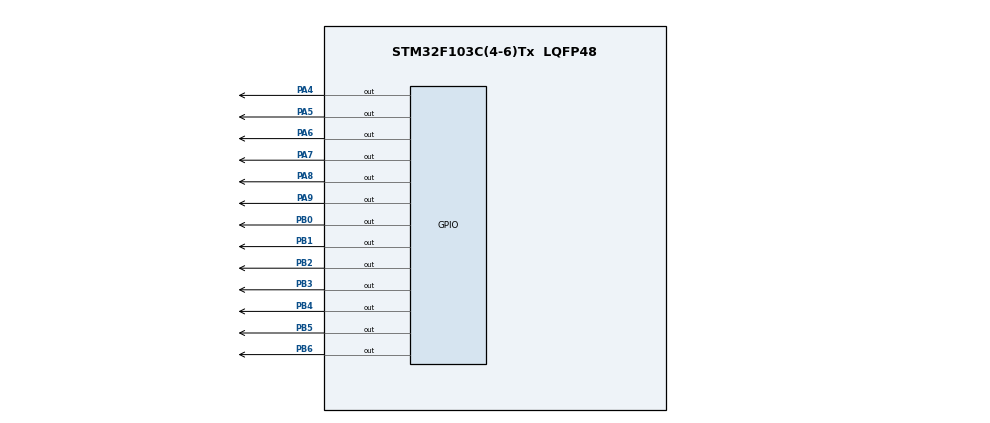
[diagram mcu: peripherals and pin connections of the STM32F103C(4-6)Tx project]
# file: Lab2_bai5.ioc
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Mcu.Family=STM32F1
Mcu.Name=STM32F103C(4-6)Tx
Mcu.Package=LQFP48
NVIC.PriorityGroup=NVIC_PRIORITYGROUP_4
NVIC.TIM2_IRQn=true\:0\:0\:false\:false\:true\:true\:true
PA13.Mode=Serial_Wire
PA13.Signal=SYS_JTMS-SWDIO
PA14.Mode=Serial_Wire
PA14.Signal=SYS_JTCK-SWCLK
PA4.Signal=GPIO_Output
PA5.Signal=GPIO_Output
PA6.Signal=GPIO_Output
PA7.Signal=GPIO_Output
PA8.Signal=GPIO_Output
PA9.Signal=GPIO_Output
PB0.Signal=GPIO_Output
PB1.Signal=GPIO_Output
PB2.Signal=GPIO_Output
PB3.Signal=GPIO_Output
PB4.Signal=GPIO_Output
PB5.Signal=GPIO_Output
PB6.Signal=GPIO_Output
PD0-OSC_IN.Mode=HSE-External-Oscillator
PD0-OSC_IN.Signal=RCC_OSC_IN
PD1-OSC_OUT.Mode=HSE-External-Oscillator
PD1-OSC_OUT.Signal=RCC_OSC_OUT
ProjectManager.HeapSize=0x200
ProjectManager.StackSize=0x400
ProjectManager.TargetToolchain=STM32CubeIDE
RCC.APB1Freq_Value=8000000
RCC.APB2Freq_Value=8000000
TIM2.Period=9
TIM2.Prescaler=7999
VP_TIM2_VS_ClockSourceINT.Mode=Internal
board=custom

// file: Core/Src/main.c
/* USER CODE BEGIN Header */
/**
  ******************************************************************************
  * @file           : main.c
  * @brief          : Main program body
  ******************************************************************************
  * @attention
  *
  * <h2><center>&copy; Copyright (c) 2021 STMicroelectronics.
  * All rights reserved.</center></h2>
  *
  * This software component is licensed by ST under BSD 3-Clause license,
  * the "License"; You may not use this file except in compliance with the
  * License. You may obtain a copy of the License at:
  *                        opensource.org/licenses/BSD-3-Clause
  *
  ******************************************************************************
  */
/* USER CODE END Header */
#include "main.h"

TIM_HandleTypeDef htim2;

void SystemClock_Config(void);
static void MX_GPIO_Init(void);
static void MX_TIM2_Init(void);

/* USER CODE BEGIN 0 */
void display7SEG(int num)
{
	HAL_GPIO_WritePin(GPIOB, GPIO_PIN_0|GPIO_PIN_1|GPIO_PIN_2|GPIO_PIN_3|GPIO_PIN_4|GPIO_PIN_5|GPIO_PIN_6, GPIO_PIN_SET);
	switch (num)
	{
	case 0: HAL_GPIO_WritePin(GPIOB, GPIO_PIN_0|GPIO_PIN_1|GPIO_PIN_2|GPIO_PIN_3|GPIO_PIN_4|GPIO_PIN_5, GPIO_PIN_RESET);
			break;
	case 1: HAL_GPIO_WritePin(GPIOB, GPIO_PIN_1|GPIO_PIN_2, GPIO_PIN_RESET);
			break;
	case 2: HAL_GPIO_WritePin(GPIOB, GPIO_PIN_0|GPIO_PIN_1|GPIO_PIN_3|GPIO_PIN_4|GPIO_PIN_6, GPIO_PIN_RESET);
			break;
	case 3: HAL_GPIO_WritePin(GPIOB, GPIO_PIN_0|GPIO_PIN_1|GPIO_PIN_2|GPIO_PIN_3|GPIO_PIN_6, GPIO_PIN_RESET);
			break;
	case 4: HAL_GPIO_WritePin(GPIOB, GPIO_PIN_1|GPIO_PIN_2|GPIO_PIN_5|GPIO_PIN_6, GPIO_PIN_RESET);
			break;
	case 5: HAL_GPIO_WritePin(GPIOB, GPIO_PIN_0|GPIO_PIN_2|GPIO_PIN_3|GPIO_PIN_5|GPIO_PIN_6, GPIO_PIN_RESET);
			break;
	case 6: HAL_GPIO_WritePin(GPIOB, GPIO_PIN_0|GPIO_PIN_2|GPIO_PIN_3|GPIO_PIN_4|GPIO_PIN_5|GPIO_PIN_6, GPIO_PIN_RESET);
			break;
	case 7: HAL_GPIO_WritePin(GPIOB, GPIO_PIN_0|GPIO_PIN_1|GPIO_PIN_2, GPIO_PIN_RESET);
			break;
	case 8: HAL_GPIO_WritePin(GPIOB, GPIO_PIN_0|GPIO_PIN_1|GPIO_PIN_2|GPIO_PIN_3|GPIO_PIN_4|GPIO_PIN_5|GPIO_PIN_6, GPIO_PIN_RESET);
			break;
	case 9: HAL_GPIO_WritePin(GPIOB, GPIO_PIN_0|GPIO_PIN_1|GPIO_PIN_2|GPIO_PIN_3|GPIO_PIN_5|GPIO_PIN_6, GPIO_PIN_RESET);
			break;
	default: HAL_GPIO_WritePin(GPIOB, GPIO_PIN_2|GPIO_PIN_3|GPIO_PIN_4|GPIO_PIN_5|GPIO_PIN_6, GPIO_PIN_RESET);
			break;
	}
}

int hour = 15, minute = 8, second = 50;
const int MAX_LED = 4;
int index_led = 0;
int led_buffer [4] = {1, 2, 3, 4};
void update7SEG (int index){
	switch(index){
	case 0:
		// Display the first 7 SEG with led_buffer [0]
		display7SEG(led_buffer[0]);
		HAL_GPIO_WritePin(GPIOA, GPIO_PIN_6, GPIO_PIN_RESET);
		HAL_GPIO_WritePin(GPIOA, GPIO_PIN_7 | GPIO_PIN_8 | GPIO_PIN_9, GPIO_PIN_SET);
		break;
	case 1:
		// Display the second 7 SEG with led_buffer [1]
		display7SEG(led_buffer[1]);
		HAL_GPIO_WritePin(GPIOA, GPIO_PIN_7, GPIO_PIN_RESET);
		HAL_GPIO_WritePin(GPIOA, GPIO_PIN_6 | GPIO_PIN_8 | GPIO_PIN_9, GPIO_PIN_SET);
		break;
	case 2:
		// Display the third 7 SEG with led_buffer [2]
		display7SEG(led_buffer[2]);
		HAL_GPIO_WritePin(GPIOA, GPIO_PIN_8, GPIO_PIN_RESET);
		HAL_GPIO_WritePin(GPIOA, GPIO_PIN_6 | GPIO_PIN_7 | GPIO_PIN_9, GPIO_PIN_SET);
		break;
	case 3:
		// Display the forth 7 SEG with led_buffer [3]
		display7SEG(led_buffer[3]);
		HAL_GPIO_WritePin(GPIOA, GPIO_PIN_9, GPIO_PIN_RESET);
		HAL_GPIO_WritePin(GPIOA, GPIO_PIN_6 | GPIO_PIN_7 | GPIO_PIN_8, GPIO_PIN_SET);
		break;
	default:
		break;
	}
}
void updateClockBuffer(){
	led_buffer[0] = hour / 10;
	led_buffer[1] = hour % 10;
	led_buffer[2] = minute / 10;
	led_buffer[3] = minute % 10;
}
/* USER CODE END 0 */

int main(void)
{

  /* MCU Configuration--------------------------------------------------------*/

  /* Reset of all peripherals, Initializes the Flash interface and the Systick. */
  HAL_Init();

  /* Configure the system clock */
  SystemClock_Config();

  /* Initialize all configured peripherals */
  MX_GPIO_Init();
  MX_TIM2_Init();
  /* USER CODE BEGIN 2 */
  HAL_TIM_Base_Start_IT(&htim2);
  /* USER CODE END 2 */

  /* Infinite loop */
  while (1)
  {
	  second ++;
	  if ( second >= 60)
	  {
		  second = 0;
		  minute ++;
	  }

	  if( minute >= 60)
	  {
		  minute = 0;
		  hour ++;
	  }
	  if( hour >=24) hour = 0;

	  updateClockBuffer();
	  HAL_Delay(1000);
  }
}

void SystemClock_Config(void)
{
  RCC_OscInitTypeDef RCC_OscInitStruct = {0};
  RCC_ClkInitTypeDef RCC_ClkInitStruct = {0};

  /** Initializes the RCC Oscillators according to the specified parameters
  * in the RCC_OscInitTypeDef structure.
  */
  RCC_OscInitStruct.OscillatorType = RCC_OSCILLATORTYPE_HSI;
  RCC_OscInitStruct.HSIState = RCC_HSI_ON;
  RCC_OscInitStruct.HSICalibrationValue = RCC_HSICALIBRATION_DEFAULT;
  RCC_OscInitStruct.PLL.PLLState = RCC_PLL_NONE;
  if (HAL_RCC_OscConfig(&RCC_OscInitStruct) != HAL_OK)
  {
    Error_Handler();
  }
  /** Initializes the CPU, AHB and APB buses clocks
  */
  RCC_ClkInitStruct.ClockType = RCC_CLOCKTYPE_HCLK|RCC_CLOCKTYPE_SYSCLK
                              |RCC_CLOCKTYPE_PCLK1|RCC_CLOCKTYPE_PCLK2;
  RCC_ClkInitStruct.SYSCLKSource = RCC_SYSCLKSOURCE_HSI;
  RCC_ClkInitStruct.AHBCLKDivider = RCC_SYSCLK_DIV1;
  RCC_ClkInitStruct.APB1CLKDivider = RCC_HCLK_DIV1;
  RCC_ClkInitStruct.APB2CLKDivider = RCC_HCLK_DIV1;

  if (HAL_RCC_ClockConfig(&RCC_ClkInitStruct, FLASH_LATENCY_0) != HAL_OK)
  {
    Error_Handler();
  }
}

static void MX_TIM2_Init(void)
{

  TIM_ClockConfigTypeDef sClockSourceConfig = {0};
  TIM_MasterConfigTypeDef sMasterConfig = {0};

  htim2.Instance = TIM2;
  htim2.Init.Prescaler = 7999;
  htim2.Init.CounterMode = TIM_COUNTERMODE_UP;
  htim2.Init.Period = 9;
  htim2.Init.ClockDivision = TIM_CLOCKDIVISION_DIV1;
  htim2.Init.AutoReloadPreload = TIM_AUTORELOAD_PRELOAD_DISABLE;
  if (HAL_TIM_Base_Init(&htim2) != HAL_OK)
  {
    Error_Handler();
  }
  sClockSourceConfig.ClockSource = TIM_CLOCKSOURCE_INTERNAL;
  if (HAL_TIM_ConfigClockSource(&htim2, &sClockSourceConfig) != HAL_OK)
  {
    Error_Handler();
  }
  sMasterConfig.MasterOutputTrigger = TIM_TRGO_RESET;
  sMasterConfig.MasterSlaveMode = TIM_MASTERSLAVEMODE_DISABLE;
  if (HAL_TIMEx_MasterConfigSynchronization(&htim2, &sMasterConfig) != HAL_OK)
  {
    Error_Handler();
  }

}

static void MX_GPIO_Init(void)
{
  GPIO_InitTypeDef GPIO_InitStruct = {0};

  /* GPIO Ports Clock Enable */
  __HAL_RCC_GPIOD_CLK_ENABLE();
  __HAL_RCC_GPIOA_CLK_ENABLE();
  __HAL_RCC_GPIOB_CLK_ENABLE();

  /*Configure GPIO pin Output Level */
  HAL_GPIO_WritePin(GPIOA, GPIO_PIN_4|GPIO_PIN_5|GPIO_PIN_6|GPIO_PIN_7
                          |GPIO_PIN_8|GPIO_PIN_9, GPIO_PIN_RESET);

  /*Configure GPIO pin Output Level */
  HAL_GPIO_WritePin(GPIOB, GPIO_PIN_0|GPIO_PIN_1|GPIO_PIN_2|GPIO_PIN_3
                          |GPIO_PIN_4|GPIO_PIN_5|GPIO_PIN_6, GPIO_PIN_RESET);

  /*Configure GPIO pins : PA4 PA5 PA6 PA7
                           PA8 PA9 */
  GPIO_InitStruct.Pin = GPIO_PIN_4|GPIO_PIN_5|GPIO_PIN_6|GPIO_PIN_7
                          |GPIO_PIN_8|GPIO_PIN_9;
  GPIO_InitStruct.Mode = GPIO_MODE_OUTPUT_PP;
  GPIO_InitStruct.Pull = GPIO_NOPULL;
  GPIO_InitStruct.Speed = GPIO_SPEED_FREQ_LOW;
  HAL_GPIO_Init(GPIOA, &GPIO_InitStruct);

  /*Configure GPIO pins : PB0 PB1 PB2 PB3
                           PB4 PB5 PB6 */
  GPIO_InitStruct.Pin = GPIO_PIN_0|GPIO_PIN_1|GPIO_PIN_2|GPIO_PIN_3
                          |GPIO_PIN_4|GPIO_PIN_5|GPIO_PIN_6;
  GPIO_InitStruct.Mode = GPIO_MODE_OUTPUT_PP;
  GPIO_InitStruct.Pull = GPIO_NOPULL;
  GPIO_InitStruct.Speed = GPIO_SPEED_FREQ_LOW;
  HAL_GPIO_Init(GPIOB, &GPIO_InitStruct);

}

/* USER CODE BEGIN 4 */
// timer
int count = 100;
int led_index = 0;
void HAL_TIM_PeriodElapsedCallback ( TIM_HandleTypeDef * htim ){
	if(htim->Instance == htim2.Instance){
		if(count <= 0) count = 100;
		if(count %50== 0){
			HAL_GPIO_TogglePin(GPIOA, GPIO_PIN_5);
			if(led_index >= MAX_LED) led_index = 0;
			update7SEG (led_index++);
		}
		if(count%100==0){
			HAL_GPIO_TogglePin(GPIOA, GPIO_PIN_4);
		}
		count--;
	}
}
/* USER CODE END 4 */

void Error_Handler(void)
{
  __disable_irq();
  while (1)
  {
  }
}

/************************ (C) COPYRIGHT STMicroelectronics *****END OF FILE****/
